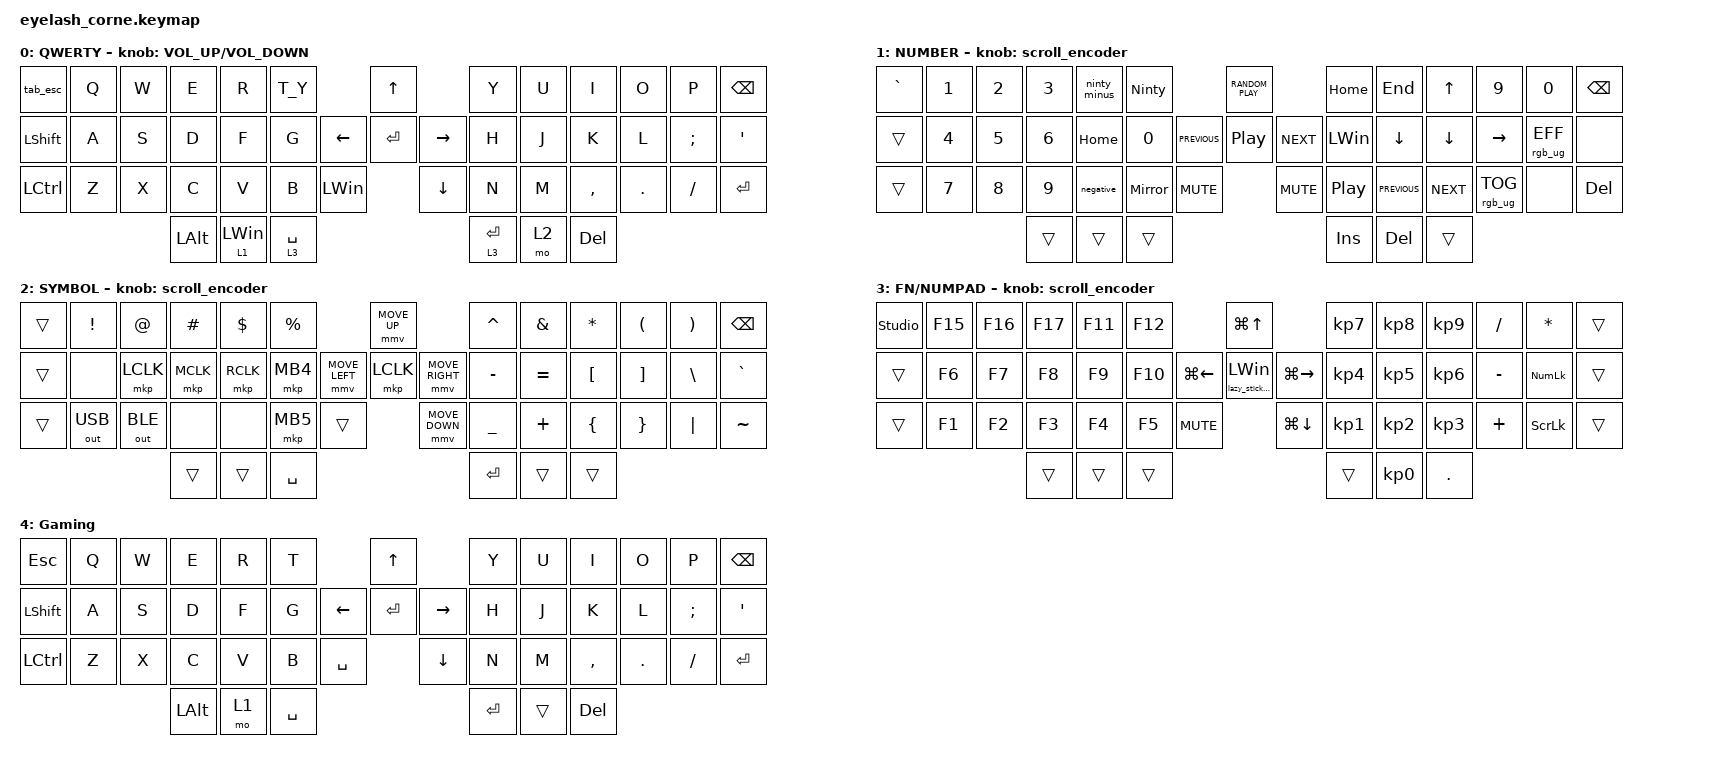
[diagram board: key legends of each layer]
#define ZMK_POINTING_DEFAULT_MOVE_VAL 1200  // 600
#define ZMK_POINTING_DEFAULT_SCRL_VAL 25   // 10

#include <input/processors.dtsi>
#include <zephyr/dt-bindings/input/input-event-codes.h>
#include <behaviors.dtsi>
#include <dt-bindings/zmk/keys.h>
#include <dt-bindings/zmk/outputs.h>
#include <dt-bindings/zmk/pointing.h>
#include <dt-bindings/zmk/rgb.h>

&mmv_input_listener { input-processors = <&zip_xy_scaler 2 1>; };

&msc_input_listener { input-processors = <&zip_scroll_scaler 2 1>; };

&msc {
    acceleration-exponent = <1>;      // 0
    time-to-max-speed-ms = <100>;       // 300
    delay-ms = <0>;                   // 0
};

&mmv {
    time-to-max-speed-ms = <500>;
    acceleration-exponent = <1>;
    trigger-period-ms = <16>;
};

/ {
    behaviors {
        T_Y: td0 {
            compatible = "zmk,behavior-tap-dance";
            display-name = "Shift/Caps Lock Tap Dance";
            #binding-cells = <0>;
            bindings = <&kp T>, <&kp Y>;
        };

        tab_esc: tab_esc {
            compatible = "zmk,behavior-tap-dance";
            display-name = "Shift/Caps Lock Tap Dance";
            #binding-cells = <0>;
            bindings = <&kp TAB>, <&kp ESCAPE>;

            label = "TAB_ESC";
        };

        lazy_stickykey: lazy_stickykey {
            compatible = "zmk,behavior-sticky-key";
            label = "LAZY_STICKYKEY";
            bindings = <&kp>;
            #binding-cells = <1>;
            lazy;
            release-after-ms = <100>;
        };
    };

    rgb_encoder: rgb_encoder {
        compatible = "zmk,behavior-sensor-rotate";
        #sensor-binding-cells = <0>;
        bindings = <&rgb_ug RGB_BRI>, <&rgb_ug RGB_BRD>;
    };

    scroll_encoder: scroll_encoder {
        compatible = "zmk,behavior-sensor-rotate";
        #sensor-binding-cells = <0>;
        bindings = <&msc SCRL_DOWN>, <&msc SCRL_UP>;

        tap-ms = <100>;
    };

    combos {
        compatible = "zmk,combos";

        Backspace {
            bindings = <&kp BACKSPACE>;
            key-positions = <4 5 44>;
        };

        Search {
            bindings = <&kp F3>;
            key-positions = <17 18 44>;
        };

        assetbrowserclear {
            bindings = <&assetbrowser_clear>;
            key-positions = <32 33 44>;
        };

        gaming {
            bindings = <&tog 4>;
            key-positions = <4 5 7 8>;
        };

        winkey {
            bindings = <&kp LEFT_WIN>;
            key-positions = <32 44>;
        };
    };

    macros {
        Ninty: Ninty {
            compatible = "zmk,behavior-macro";
            #binding-cells = <0>;
            bindings = <&none &kp N9 &kp N0>;
            label = "NINTY";
        };

        ninty_minus: ninty_minus {
            compatible = "zmk,behavior-macro";
            #binding-cells = <0>;
            bindings = <&none &kp MINUS &kp N9 &kp N0>;
            label = "NINTY_MINUS";
        };

        Mirror: Mirror {
            compatible = "zmk,behavior-macro";
            #binding-cells = <0>;
            bindings = <&kp LC(M)>;
            label = "MIRROR";
        };

        negative: negative {
            compatible = "zmk,behavior-macro";
            #binding-cells = <0>;
            bindings = <&kp END &kp STAR &kp MINUS &kp N1 &kp ENTER>;
            label = "NEGATIVE";
        };

        assetbrowser_clear: assetbrowser_clear {
            compatible = "zmk,behavior-macro";
            #binding-cells = <0>;
            bindings = <&kp LC(F) &kp BACKSPACE>;
            label = "ASSETBROWSER_CLEAR";
        };

        winup: winup {
            compatible = "zmk,behavior-macro";
            #binding-cells = <0>;
            bindings = <&kp LEFT_WIN &kp UP_ARROW>, <&macro_pause_for_release>;

            label = "WINUP";
        };

        winleft: winleft {
            compatible = "zmk,behavior-macro";
            #binding-cells = <0>;
            bindings = <&kp LEFT_WIN &kp LEFT_ARROW>;
            label = "WINLEFT";
        };
    };

    keymap {
        compatible = "zmk,keymap";

        default_layer {
            display-name = "QWERTY";
            bindings = <
&tab_esc        &kp Q  &kp W  &kp E         &kp R           &T_Y                                   &kp UP                &kp Y        &kp U  &kp I      &kp O    &kp P     &kp BSPC
&kp LEFT_SHIFT  &kp A  &kp S  &kp D         &kp F           &kp G                        &kp LEFT  &kp ENTER  &kp RIGHT  &kp H        &kp J  &kp K      &kp L    &kp SEMI  &kp SQT
&kp LCTRL       &kp Z  &kp X  &kp C         &kp V           &kp B        &kp LEFT_WIN              &kp DOWN              &kp N        &kp M  &kp COMMA  &kp DOT  &kp FSLH  &kp ENTER
                              &kp LEFT_ALT  &lt 1 LEFT_WIN  &lt 3 SPACE                                                  &lt 3 ENTER  &mo 2  &kp DEL
            >;

            sensor-bindings = <&inc_dec_kp C_VOLUME_UP C_VOLUME_DOWN>;
        };

        lower_layer {
            display-name = "NUMBER";
            bindings = <
&kp GRAVE  &kp N1        &kp N2  &kp N3        &ninty_minus  &Ninty                                 &kp C_RANDOM_PLAY              &kp HOME          &kp END         &kp UP_ARROW    &kp N9           &kp N0           &kp BSPC
&trans     &kp NUMBER_4  &kp N5  &kp NUMBER_6  &kp HOME      &kp N0                 &kp C_PREVIOUS  &kp C_PLAY_PAUSE   &kp C_NEXT  &kp LEFT_WIN      &kp DOWN        &kp DOWN_ARROW  &kp RIGHT        &rgb_ug RGB_EFF  &none
&trans     &kp N7        &kp N8  &kp N9        &negative     &Mirror  &kp C_MUTE                    &kp K_MUTE                     &kp C_PLAY_PAUSE  &kp K_PREVIOUS  &kp K_NEXT      &rgb_ug RGB_TOG  &none            &kp DEL
                                 &trans        &trans        &trans                                                                &kp INS           &kp DEL         &trans
            >;

            sensor-bindings = <&scroll_encoder>;
        };

        raise_layer {
            display-name = "SYMBOL";
            bindings = <
&trans  &kp EXCL      &kp AT        &kp HASH   &kp DLLR   &kp PRCNT                            &mmv MOVE_UP                     &kp CARET  &kp AMPS   &kp ASTRK  &kp LPAR  &kp RPAR  &kp BSPC
&trans  &none         &mkp LCLK     &mkp MCLK  &mkp RCLK  &mkp MB4             &mmv MOVE_LEFT  &mkp LCLK       &mmv MOVE_RIGHT  &kp MINUS  &kp EQUAL  &kp LBKT   &kp RBKT  &kp BSLH  &kp GRAVE
&trans  &out OUT_USB  &out OUT_BLE  &none      &none      &mkp MB5   &trans                    &mmv MOVE_DOWN                   &kp UNDER  &kp PLUS   &kp LBRC   &kp RBRC  &kp PIPE  &kp TILDE
                                    &trans     &trans     &kp SPACE                                                             &kp RET    &trans     &trans
            >;

            sensor-bindings = <&scroll_encoder>;
        };

        layer_3 {
            display-name = "FN/NUMPAD";
            bindings = <
&studio_unlock  &kp F15  &kp F16  &kp F17  &kp F11  &kp F12                                    &kp LG(UP_ARROW)                               &kp KP_NUMBER_7  &kp KP_NUMBER_8  &kp KP_NUMBER_9  &kp SLASH  &kp ASTERISK    &trans
&trans          &kp F6   &kp F7   &kp F8   &kp F9   &kp F10                &kp LG(LEFT_ARROW)  &lazy_stickykey LEFT_WIN  &kp LG(RIGHT_ARROW)  &kp KP_NUMBER_4  &kp KP_NUMBER_5  &kp KP_NUMBER_6  &kp MINUS  &kp KP_NUMLOCK  &trans
&trans          &kp F1   &kp F2   &kp F3   &kp F4   &kp F5   &kp C_MUTE                        &kp LG(DOWN_ARROW)                             &kp KP_NUMBER_1  &kp KP_NUMBER_2  &kp KP_NUMBER_3  &kp PLUS   &kp SCROLLLOCK  &trans
                                  &trans   &trans   &trans                                                                                    &trans           &kp KP_NUMBER_0  &kp PERIOD
            >;

            sensor-bindings = <&scroll_encoder>;
        };

        Gaming {
            bindings = <
&kp ESCAPE  &kp Q  &kp W  &kp E     &kp R  &kp T                             &kp UP               &kp Y    &kp U   &kp I      &kp O    &kp P     &kp BSPC
&kp LSHFT   &kp A  &kp S  &kp D     &kp F  &kp G                   &kp LEFT  &kp RET   &kp RIGHT  &kp H    &kp J   &kp K      &kp L    &kp SEMI  &kp SQT
&kp LCTRL   &kp Z  &kp X  &kp C     &kp V  &kp B      &kp SPACE              &kp DOWN             &kp N    &kp M   &kp COMMA  &kp DOT  &kp FSLH  &kp RET
                          &kp LALT  &mo 1  &kp SPACE                                              &kp RET  &trans  &kp DEL
            >;
        };
    };
};
